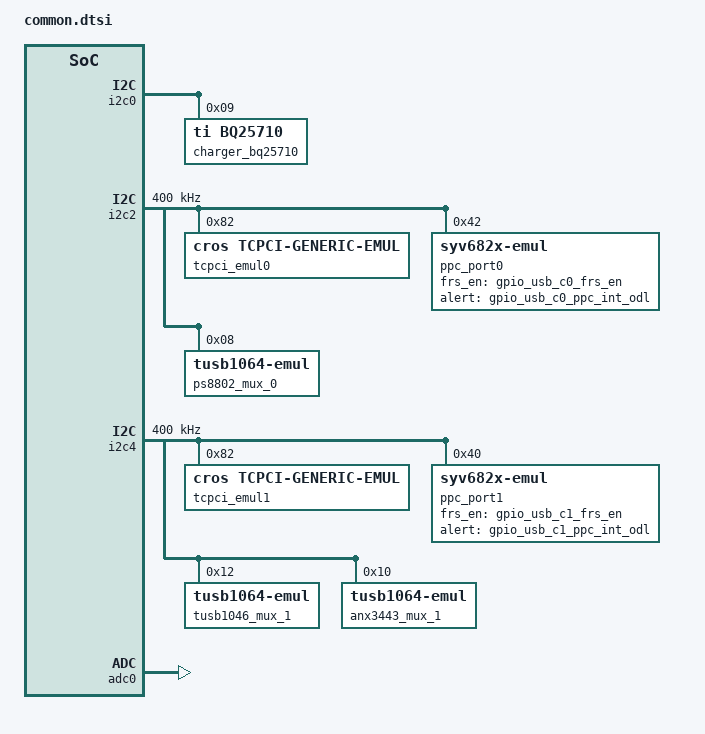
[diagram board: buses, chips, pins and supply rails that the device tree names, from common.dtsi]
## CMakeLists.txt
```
# Copyright 2025 The ChromiumOS Authors
# Use of this source code is governed by a BSD-style license that can be
# found in the LICENSE file.

# SPDX-License-Identifier: Apache-2.0

cmake_minimum_required(VERSION 3.20.0)

# Initialize Zephyr
find_package(Zephyr REQUIRED HINTS $ENV{ZEPHYR_BASE})
project(rauru_usbc_tests)

add_subdirectory(${PLATFORM_EC}/zephyr/test/test_utils test_utils)

zephyr_include_directories(
	"${PLATFORM_EC_PROGRAM_DIR}/rauru/include"
	include)

target_sources(app PRIVATE
	${PLATFORM_EC_PROGRAM_DIR}/rauru/src/usbc.c)

# Add the test source
target_sources(app PRIVATE
	src/main.c
    src/usbc_test.c
)
```

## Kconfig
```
# Copyright 2026 The ChromiumOS Authors
# Use of this source code is governed by a BSD-style license that can be
# found in the LICENSE file.

choice
    prompt "Select the test suite"

config TEST_RAURU_USBC
    bool "Run the tests intended for Rauru USBC"
    help
      Enable the Rauru USBC test suite.

endchoice

# Pull Zephyr test support
source "Kconfig.zephyr"
```

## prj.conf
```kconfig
# Copyright 2026 The ChromiumOS Authors
# Use of this source code is governed by a BSD-style license that can be
# found in the LICENSE file.

CONFIG_ZTEST=y
CONFIG_ZTEST_ASSERT_VERBOSE=1

CONFIG_ASSERT=y
CONFIG_ADC=y
CONFIG_CROS_EC=y
CONFIG_EMUL=y

CONFIG_SHIMMED_TASKS=n

CONFIG_PLATFORM_EC=y
CONFIG_PLATFORM_EC_BACKLIGHT_LID=n

CONFIG_PLATFORM_EC_USB_PD_VBUS_DETECT_PPC=y
CONFIG_PLATFORM_EC_CHARGE_MANAGER=y

CONFIG_PLATFORM_EC_GPIO_INIT_PRIORITY=49
CONFIG_PLATFORM_EC_HOOKS=y
CONFIG_PLATFORM_EC_HOSTCMD=y
CONFIG_PLATFORM_EC_LID_SWITCH=y
CONFIG_PLATFORM_EC_POWERSEQ_HOST_SLEEP=y
CONFIG_PLATFORM_EC_POWER_BUTTON=y
CONFIG_PLATFORM_EC_POWER_SLEEP_FAILURE_DETECTION=y
CONFIG_PLATFORM_EC_SWITCH=n
CONFIG_PLATFORM_EC_TABLET_MODE=y
CONFIG_PLATFORM_EC_USBC=y
CONFIG_PLATFORM_EC_USB_CHARGER=n
CONFIG_PLATFORM_EC_USB_DRP_ACC_TRYSRC=y
CONFIG_PLATFORM_EC_USB_PD_DISCHARGE=n
CONFIG_PLATFORM_EC_USB_PD_VBUS_MEASURE_ADC_EACH_PORT=y
CONFIG_PLATFORM_EC_USB_POWER_DELIVERY=y
CONFIG_PLATFORM_EC_VBOOT_HASH=n

CONFIG_AP_ARM_MTK_MT8196=y
CONFIG_PLATFORM_EC_CHIPSET_RESUME_INIT_HOOK=y
CONFIG_PLATFORM_EC_EXTPOWER_GPIO=y
CONFIG_PLATFORM_EC_POWERSEQ=y
CONFIG_PLATFORM_EC_POWERSEQ_PP5000_CONTROL=n

CONFIG_PLATFORM_EC_USBC_PPC=y

CONFIG_UART_NATIVE_PTY_0_ON_STDINOUT=y
```

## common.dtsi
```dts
/* Copyright 2025 The ChromiumOS Authors
 * Use of this source code is governed by a BSD-style license that can be
 * found in the LICENSE file.
 */

#include <it8xxx2_emul.dts>
#include "../program/rauru/power_signal.dtsi"

/ {

    pinctrl: pinctrl {
		compatible = "ite,it8xxx2-pinctrl";
		status = "disabled";
	};

	named-gpios {
		compatible = "named-gpios";

		/* unimplemented GPIOs */
		entering_rw: entering_rw {
			enum-name = "GPIO_ENTERING_RW";
		};

		/* a label to prevent build break in power sequencing */
		en_pp4200_s5: en_pp3700_s5 {
			gpios = <&gpioh 5 (GPIO_OUTPUT_LOW)>;
		};

		gpio_als_int_ec_odl: als_int_ec_odl {
			gpios = <&gpiob 6 (GPIO_INPUT)>;
		};
		gpio_ap_ec_sysrst_odl: ap_ec_sysrst_odl {
			gpios = <&gpioj 2 (GPIO_INPUT)>;
			enum-name = "GPIO_AP_EC_SYSRST_ODL";
		};
		gpio_ap_ec_warm_rst_req: ap_ec_warm_rst_req {
			gpios = <&gpiom 3 (GPIO_INPUT)>;
			enum-name = "GPIO_AP_EC_WARM_RST_REQ";
		};
		gpio_ap_ec_wdtrst_l: ap_ec_wdtrst_l {
			gpios = <&gpioj 3 (GPIO_INPUT)>;
			enum-name = "GPIO_AP_EC_WDTRST_L";
		};
		gpio_ap_in_sleep_l: ap_in_sleep_l {
			gpios = <&gpiom 2 (GPIO_INPUT)>;
			enum-name = "GPIO_AP_IN_SLEEP_L";
		};
		gpio_ap_xhci_init_done_r: ap_xhci_init_done_r {
			gpios = <&gpioj 4 (GPIO_INPUT)>;
		};
		gpio_ccd_mode_odl: ccd_mode_odl {
			gpios = <&gpioe 5 (GPIO_INPUT)>;
		};
		gpio_charger_prochot_odl: charger_prochot_odl {
			gpios = <&gpioc 0 (GPIO_INPUT)>;
		};
		gpio_dp_path_hdmi_en: dp_path_hdmi_en {
			gpios = <&gpioi 6 (GPIO_OUTPUT | GPIO_ACTIVE_HIGH | GPIO_OUTPUT_INIT_LOW)>;
		};
		gpio_dp_path_usb_c1_en: dp_path_usb_c1_en {
			gpios = <&gpiog 0 (GPIO_OUTPUT | GPIO_ACTIVE_HIGH | GPIO_OUTPUT_INIT_LOW)>;
		};
		gpio_ec_ap_dp_hpd_l: ec_ap_dp_hpd_l {
			gpios = <&gpiof 3 (GPIO_OUTPUT | GPIO_ACTIVE_HIGH | GPIO_OUTPUT_INIT_HIGH)>;
		};
		gpio_ec_ap_int_odl: ec_ap_int_odl {
			gpios = <&gpiom 6 (GPIO_OUTPUT | GPIO_OPEN_DRAIN | GPIO_ACTIVE_HIGH | GPIO_OUTPUT_INIT_HIGH)>;
			enum-name = "GPIO_EC_INT_L";
		};
		gpio_ec_ap_sys_rst_odl: ec_ap_sys_rst_odl {
			gpios = <&gpioj 5 (GPIO_OUTPUT | GPIO_OPEN_DRAIN | GPIO_ACTIVE_HIGH | GPIO_OUTPUT_INIT_HIGH)>;
			enum-name = "GPIO_SYS_RST_ODL";
		};
		gpio_ec_batt_pres_odl: ec_batt_pres_odl {
			gpios = <&gpioc 3 (GPIO_INPUT)>;
			enum-name = "GPIO_BATT_PRES_ODL";
		};
		gpio_ec_bl_en_od: ec_bl_en_od {
			gpios = <&gpiod 2 (GPIO_OUTPUT | GPIO_OPEN_DRAIN | GPIO_ACTIVE_HIGH | GPIO_OUTPUT_INIT_LOW)>;
		};
		gpio_ec_cbi_wp: ec_cbi_wp {
			gpios = <&gpioc 5 (GPIO_OUTPUT | GPIO_ACTIVE_HIGH | GPIO_OUTPUT_INIT_LOW)>;
		};
		gpio_ec_flash_wp_odl: ec_flash_wp_odl {
			gpios = <&gpioc 4 (GPIO_INPUT)>;
		};
		gpio_ec_gsc_packet_mode_en: ec_gsc_packet_mode_en {
			gpios = <&gpioe 6 (GPIO_OUTPUT | GPIO_ACTIVE_HIGH | GPIO_OUTPUT_INIT_LOW)>;
			enum-name = "GPIO_PACKET_MODE_EN";
		};
		gpio_ec_led1_odl: ec_led1_odl {
			gpios = <&gpioa 0 (GPIO_OUTPUT | GPIO_OPEN_DRAIN | GPIO_ACTIVE_HIGH | GPIO_OUTPUT_INIT_HIGH)>;
		};
		gpio_ec_led2_odl: ec_led2_odl {
			gpios = <&gpioa 1 (GPIO_OUTPUT | GPIO_OPEN_DRAIN | GPIO_ACTIVE_HIGH | GPIO_OUTPUT_INIT_HIGH)>;
		};
		gpio_ec_pmic_en_odl_r: ec_pmic_en_odl_r {
			gpios = <&gpioj 0 (GPIO_OUTPUT | GPIO_OPEN_DRAIN | GPIO_ACTIVE_HIGH | GPIO_OUTPUT_INIT_HIGH)>;
			enum-name = "GPIO_EC_PMIC_EN_ODL";
		};
		gpio_ec_voldn_btn_odl: ec_voldn_btn_odl {
			gpios = <&gpioe 3 (GPIO_INPUT)>;
			enum-name = "GPIO_VOLUME_DOWN_L";
		};
		gpio_ec_volup_btn_odl: ec_volup_btn_odl {
			gpios = <&gpioe 4 (GPIO_INPUT)>;
			enum-name = "GPIO_VOLUME_UP_L";
		};
		gpio_en_hdmi_pwr: en_hdmi_pwr {
			gpios = <&gpioi 5 (GPIO_OUTPUT | GPIO_ACTIVE_HIGH | GPIO_OUTPUT_INIT_LOW)>;
		};
		gpio_en_kb_bl: en_kb_bl {
			gpios = <&gpiog 2 (GPIO_OUTPUT | GPIO_ACTIVE_HIGH)>;
			enum-name = "GPIO_EN_KEYBOARD_BACKLIGHT";
		};
		gpio_en_pp5000_fan: en_pp5000_fan {
			gpios = <&gpioa 6 (GPIO_OUTPUT | GPIO_ACTIVE_HIGH | GPIO_OUTPUT_INIT_LOW)>;
		};
		gpio_en_pp5000_pen_l: en_pp5000_pen_l {
			gpios = <&gpiog 3 (GPIO_OUTPUT | GPIO_ACTIVE_HIGH | GPIO_OUTPUT_INIT_HIGH)>;
		};
		gpio_en_pp5000_usba_vbus: en_pp5000_usba_vbus {
			gpios = <&gpiog 1 (GPIO_OUTPUT | GPIO_ACTIVE_HIGH | GPIO_OUTPUT_INIT_LOW)>;
		};
		gpio_en_pp5000_z1: en_pp5000_z1 {
			gpios = <&gpioh 3 (GPIO_OUTPUT | GPIO_ACTIVE_HIGH | GPIO_OUTPUT_INIT_HIGH)>;
		};
		gpio_en_ulp: en_ulp {
			gpios = <&gpioh 0 (GPIO_OUTPUT | GPIO_ACTIVE_HIGH | GPIO_OUTPUT_INIT_LOW)>;
		};
		gpio_gsc_acok_od: gsc_acok_od {
			gpios = <&gpioe 1 (GPIO_INPUT)>;
			enum-name = "GPIO_AC_PRESENT";
		};
		gpio_gsc_ec_pwr_btn_odl: gsc_ec_pwr_btn_odl {
			gpios = <&gpioe 2 (GPIO_INPUT)>;
			enum-name = "GPIO_POWER_BUTTON_L";
		};
		gpio_hdmi_ec_hpd: hdmi_ec_hpd {
			gpios = <&gpioi 7 (GPIO_INPUT)>;
		};
		gpio_imu_int_ec_l: imu_int_ec_l {
			gpios = <&gpiod 0 (GPIO_INPUT)>;
		};
		gpio_lid_360_l: lid_360_l {
			gpios = <&gpioc 7 (GPIO_INPUT)>;
		};
		gpio_lid_accel_int_ec_l: lid_accel_int_ec_l {
			gpios = <&gpiod 1 (GPIO_INPUT)>;
		};
		gpio_lid_open_3v3: lid_open_3v3 {
			gpios = <&gpioc 6 (GPIO_INPUT)>;
			enum-name = "GPIO_LID_OPEN";
		};
		gpio_pg_pp3700_s5_od: pg_pp3700_s5_od {
			gpios = <&gpioh 6 (GPIO_INPUT)>;
			enum-name = "GPIO_PG_PP4200_S5_OD";
		};
		gpio_pg_pp5000_z1_od: pg_pp5000_z1_od {
			gpios = <&gpioh 4 (GPIO_INPUT)>;
		};
		gpio_pmic_ec_resetb: pmic_ec_resetb {
			gpios = <&gpioj 1 (GPIO_INPUT)>;
			enum-name = "GPIO_PMIC_EC_RESETB";
		};
		gpio_usb_c0_dp_in_hpd: usb_c0_dp_in_hpd {
			gpios = <&gpiof 2 (GPIO_OUTPUT | GPIO_ACTIVE_HIGH | GPIO_OUTPUT_INIT_LOW)>;
		};
		gpio_usb_c0_frs_en: usb_c0_frs_en {
			gpios = <&gpiof 0 (GPIO_OUTPUT | GPIO_ACTIVE_HIGH | GPIO_OUTPUT_INIT_LOW)>;
		};
		gpio_usb_c0_ppc_int_odl: usb_c0_ppc_int_odl {
			gpios = <&gpiof 1 (GPIO_INPUT | GPIO_ACTIVE_LOW)>;
		};
		gpio_usb_c1_frs_en: usb_c1_frs_en {
			gpios = <&gpiod 3 (GPIO_OUTPUT | GPIO_ACTIVE_HIGH | GPIO_OUTPUT_INIT_LOW)>;
		};
		gpio_usb_c1_ppc_int_odl: usb_c1_ppc_int_odl {
			gpios = <&gpiod 4 (GPIO_INPUT | GPIO_ACTIVE_LOW)>;
		};
	};

	gpio-interrupts {
		compatible = "cros-ec,gpio-interrupts";

		int_ac_present: ac-present {
			irq-pin = <&gpio_gsc_acok_od>;
			flags = <GPIO_INT_EDGE_BOTH>;
			handler = "extpower_interrupt";
		};
	};

    named-i2c-ports {
		compatible = "named-i2c-ports";

		i2c_ec_i2c_pwr_cbi_scl_3v3: ec_i2c_pwr_cbi_scl_3v3 {
			i2c-port = <&i2c0>;
			enum-names = "I2C_PORT_POWER", "I2C_PORT_EEPROM";
		};
		i2c_ec_smb_batt_scl_3v3: ec_smb_batt_scl_3v3 {
			i2c-port = <&i2c1>;
			enum-names = "I2C_PORT_BATTERY", "I2C_PORT_VIRTUAL_BATTERY";
		};
		i2c_ec_i2c_usb_c0_scl_3v3: ec_i2c_usb_c0_scl_3v3 {
			i2c-port = <&i2c2>;
			enum-names = "I2C_PORT_USB_C0";
		};
		i2c_ec_i2c_sensor_scl_1v8: ec_i2c_sensor_scl_1v8 {
			i2c-port = <&i2c3>;
			enum-names = "I2C_PORT_SENSOR";
		};
		i2c_ec_i2c_usb_c1_scl_3v3: ec_i2c_usb_c1_scl_3v3 {
			i2c-port = <&i2c4>;
			enum-names = "I2C_PORT_USB_C1";
		};
	};

	usbc {
		#address-cells = <1>;
		#size-cells = <0>;

		port0@0 {
			compatible = "named-usbc-port";
			reg = <0>;
			chg = <&charger_bq25710>;
			tcpc = <&tcpci_emul0>;
			ppc = <&ppc_port0>;
			usb-mux-chain-0 {
				compatible = "cros-ec,usb-mux-chain";
				usb-muxes = <&ps8802_mux_0 &virtual_mux_0>;
			};
		};

		port0-muxes {
			virtual_mux_0: virtual-mux-0 {
				compatible = "cros-ec,usbc-mux-virtual";
			};
		};

		port1@1 {
			compatible = "named-usbc-port";
			reg = <1>;
			tcpc = <&tcpci_emul1>;
			ppc = <&ppc_port1>;
			usb-mux-chain-1 {
				compatible = "cros-ec,usb-mux-chain";
				usb-muxes = <&anx3443_mux_1 &virtual_mux_1>;
			};
			usb_mux_chain_tusb1046_port1: usb-mux-chain-1-tusb {
				compatible = "cros-ec,usb-mux-chain";
				usb-muxes = <&tusb1046_mux_1 &virtual_mux_1>;
				alternative-chain;
			};
		};

		port1-muxes {
			virtual_mux_1: virtual-mux-1 {
				compatible = "cros-ec,usbc-mux-virtual";
			};
		};
	};

    named-adc-channels {
		compatible = "named-adc-channels";

		adc_ec_usb_c0_vbus_sense: ec_usb_c0_vbus_sense {
			enum-name = "ADC_VBUS_C0";
			io-channels = <&adc0 0>;
		};
		adc_ec_usb_c1_vbus_sense: ec_usb_c1_vbus_sense {
			enum-name = "ADC_VBUS_C1";
			io-channels = <&adc0 1>;
		};
		adc_charger_amon_q: charger_amon_q {
			enum-name = "ADC_AMON_BMON";
			io-channels = <&adc0 2>;
		};
		adc_charger_pmon_q: charger_pmon_q {
			enum-name = "ADC_PSYS";
			io-channels = <&adc0 3>;
		};
		adc_temp_sensor1: temp_sensor1 {
			enum-name = "ADC_TEMP_SENSOR_1";
			io-channels = <&adc0 4>;
		};
	};
};

&i2c0 {
	charger_bq25710: bq25710@9 {
		compatible = "ti,bq25710","zephyr,rt9490-emul";
		status = "okay";
		reg = <0x9>;
	};
};

&i2c2 {

	status = "okay";
	clock-frequency = <I2C_BITRATE_FAST>;

    tcpci_emul0: tcpci_emul@82 {
        compatible = "cros,tcpci-generic-emul";
        status = "okay";
        reg = <0x82>;
	};

	ppc_port0: syv682x@42 {
		compatible = "zephyr,syv682x-emul";
		status = "okay";
		reg = <0x42>;
		frs_en_gpio = <&gpio_usb_c0_frs_en>;
		alert_gpio = <&gpio_usb_c0_ppc_int_odl>;
	};

	ps8802_mux_0: ps8802-mx-0@8 {
		compatible = "zephyr,tusb1064-emul";
		status = "okay";
		reg = <0x8>;
	};
};

&i2c4 {

	status = "okay";
	clock-frequency = <I2C_BITRATE_FAST>;

	tcpci_emul1: tcpci_emul@82 {
        compatible = "cros,tcpci-generic-emul";
        status = "okay";
        reg = <0x82>;
	};

	ppc_port1: syv682x@40 {
		compatible = "zephyr,syv682x-emul";
		status = "okay";
		reg = <0x40>;
		frs_en_gpio = <&gpio_usb_c1_frs_en>;
		alert_gpio = <&gpio_usb_c1_ppc_int_odl>;
	};

	tusb1046_mux_1: tusb1046-mux-1@12 {
		compatible = "zephyr,tusb1064-emul";
		status = "okay";
		reg = <0x12>;
	};

	anx3443_mux_1: anx3443-mux-1@10 {
		compatible = "zephyr,tusb1064-emul";
		status = "okay";
		reg = <0x10>;
	};
};

&adc0 {
	status = "okay";
};
```

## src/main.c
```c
/* Copyright 2026 The ChromiumOS Authors
 * Use of this source code is governed by a BSD-style license that can be
 * found in the LICENSE file.
 */

#include "ec_app_main.h"
#include "test_state.h"

#include <zephyr/kernel.h>
#include <zephyr/ztest.h>

bool rauru_predicate_post_main(const void *state)
{
	return ((struct test_state *)state)->ec_app_main_run;
}

void test_main(void)
{
	struct test_state state = {
		.ec_app_main_run = false,
	};

	/* Run all the suites that depend on main not being called yet */
	ztest_run_test_suites(&state, false, 1, 1);

	ec_app_main();

	state.ec_app_main_run = true;

	/* Run all the suites that depend on main being called */
	ztest_run_test_suites(&state, false, 1, 1);

	/* Check that every suite ran */
	ztest_verify_all_test_suites_ran();
}
```

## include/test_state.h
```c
/* Copyright 2026 The ChromiumOS Authors
 * Use of this source code is governed by a BSD-style license that can be
 * found in the LICENSE file.
 */

#ifndef ZEPHYR_TEST_RAURU_INCLUDE_TEST_STATE_H_
#define ZEPHYR_TEST_RAURU_INCLUDE_TEST_STATE_H_

#include <stdbool.h>

struct test_state {
	bool ec_app_main_run;
};

bool rauru_predicate_post_main(const void *state);

#endif /* ZEPHYR_TEST_AP_POWER_INCLUDE_TEST_STATE_H_ */
```

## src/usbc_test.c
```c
/* Copyright 2026 The ChromiumOS Authors
 * Use of this source code is governed by a BSD-style license that can be
 * found in the LICENSE file.
 */

#include "adc.h"
#include "battery.h"
#include "charge_manager.h"
#include "chipset.h"
#include "console.h"
#include "driver/ppc/syv682x.h"
#include "driver/ppc/syv682x_public.h"
#include "emul/emul_common_i2c.h"
#include "emul/emul_syv682x.h"
#include "hooks.h"
#include "i2c/i2c.h"
#include "power.h"
#include "test_state.h"
#include "usb_pd.h"
#include "usbc_ppc.h"

#include <zephyr/devicetree.h>
#include <zephyr/devicetree/io-channels.h>
#include <zephyr/drivers/adc/adc_emul.h>
#include <zephyr/drivers/emul.h>
#include <zephyr/fff.h>
#include <zephyr/kernel.h>
#include <zephyr/ztest.h>

FAKE_VALUE_FUNC(int, battery_wait_for_stable);
FAKE_VALUE_FUNC(int, adc_read_channel, enum adc_channel);
FAKE_VALUE_FUNC(int, ppc_is_sourcing_vbus, int);
FAKE_VOID_FUNC(pd_set_vbus_discharge, int, int);
FAKE_VOID_FUNC(pd_send_host_event, int);
FAKE_VALUE_FUNC(int, ppc_vbus_sink_enable, int, int);
FAKE_VALUE_FUNC(int, ppc_vbus_source_enable, int, int);

ZTEST(usbc_test, test_board_reset_pd_mcu)
{
	/*
	 * No assertion required as board_reset_pd_mcu is a no-op for now
	 * It’s supposed to reset the PD MCU, but this functionality
	 * is handled in chip code (it83xx/intc.c).
	 */
	board_reset_pd_mcu();
}

ZTEST(usbc_test, test_board_pd_vconn_ctrl)
{
	/*
	 * No assertion required as board_pd_vconn_ctrl is a no-op for now
	 * VCONN control is handled by the PPC driver via PD state machine.
	 */
	board_pd_vconn_ctrl(0, USBPD_CC_PIN_1, 1);
	board_pd_vconn_ctrl(1, USBPD_CC_PIN_2, 0);
}

ZTEST(usbc_test, test_pd_set_power_supply_ready_success)
{
	ppc_vbus_sink_enable_fake.return_val = EC_SUCCESS;
	ppc_vbus_source_enable_fake.return_val = EC_SUCCESS;

	zassert_ok(pd_set_power_supply_ready(0));

	zassert_equal(ppc_vbus_sink_enable_fake.call_count, 1);
	zassert_equal(ppc_vbus_sink_enable_fake.arg0_val, 0);
	zassert_equal(ppc_vbus_sink_enable_fake.arg1_val, 0);

	zassert_equal(pd_set_vbus_discharge_fake.call_count, 1);
	zassert_equal(pd_set_vbus_discharge_fake.arg0_val, 0);
	zassert_equal(pd_set_vbus_discharge_fake.arg1_val, 0);

	zassert_equal(ppc_vbus_source_enable_fake.call_count, 1);
	zassert_equal(ppc_vbus_source_enable_fake.arg0_val, 0);
	zassert_equal(ppc_vbus_source_enable_fake.arg1_val, 1);

	k_msleep(1);
	zassert_equal(pd_send_host_event_fake.call_count, 1);
}

ZTEST(usbc_test, test_pd_set_power_supply_ready_sink_fail)
{
	ppc_vbus_sink_enable_fake.return_val = EC_ERROR_INVAL;

	int rv = pd_set_power_supply_ready(0);

	zassert_equal(rv, EC_ERROR_INVAL);

	/* Sink attempted */
	zassert_equal(ppc_vbus_sink_enable_fake.call_count, 1);

	/* Must NOT proceed further */
	zassert_equal(pd_set_vbus_discharge_fake.call_count, 0);
	zassert_equal(ppc_vbus_source_enable_fake.call_count, 0);
}

ZTEST(usbc_test, test_pd_set_power_supply_ready_source_fail)
{
	ppc_vbus_sink_enable_fake.return_val = EC_SUCCESS;
	ppc_vbus_source_enable_fake.return_val = EC_ERROR_BUSY;

	int rv = pd_set_power_supply_ready(0);

	zassert_equal(rv, EC_ERROR_BUSY);

	/* Sink disable still happens */
	zassert_equal(ppc_vbus_sink_enable_fake.call_count, 1);

	/* Discharge happens before source enable */
	zassert_equal(pd_set_vbus_discharge_fake.call_count, 1);

	/* Source enable attempted */
	zassert_equal(ppc_vbus_source_enable_fake.call_count, 1);
}

ZTEST(usbc_test, test_pd_power_supply_reset_integration)
{
	pd_set_power_supply_ready(0);
	k_msleep(1);

	pd_power_supply_reset(0);
	k_msleep(1);

	/* After reset, VBUS off */
	zassert_false(board_vbus_source_enabled(0));
}

ZTEST(usbc_test, test_pd_power_supply_reset_not_sourcing)
{
	ppc_is_sourcing_vbus_fake.return_val = 0;

	pd_power_supply_reset(0);

	zassert_equal(pd_set_vbus_discharge_fake.call_count, 0);
}

ZTEST(usbc_test, test_pd_check_vconn_swap)
{
	const int port = 0;
	/* suspend */
	power_set_state(POWER_S3);
	zassert_true(pd_check_vconn_swap(port));

	/* s0 */
	power_set_state(POWER_S0);
	zassert_true(pd_check_vconn_swap(port));

	/* softoff */
	power_set_state(POWER_S5);
	zassert_false(pd_check_vconn_swap(port));

	/* hardoff */
	power_set_state(POWER_G3);
	zassert_false(pd_check_vconn_swap(port));
}

ZTEST(usbc_test, test_set_active_charge_port_none)
{
	/* Don't return error even disable failed */
	ppc_vbus_sink_enable_fake.return_val = 1;
	zassert_equal(EC_SUCCESS,
		      board_set_active_charge_port(CHARGE_PORT_NONE));
	zassert_equal(2, ppc_vbus_sink_enable_fake.call_count);
	/* C0 */
	zassert_equal(0, ppc_vbus_sink_enable_fake.arg0_history[0]);
	zassert_equal(0, ppc_vbus_sink_enable_fake.arg1_history[0]);
	/* C1 */
	zassert_equal(1, ppc_vbus_sink_enable_fake.arg0_history[1]);
	zassert_equal(0, ppc_vbus_sink_enable_fake.arg1_history[1]);
}

ZTEST(usbc_test, test_set_active_charge_port_invalid_port)
{
	zassert_equal(board_set_active_charge_port(3), EC_ERROR_INVAL,
		      "port 3 doesn't exist, should return error");
}

ZTEST(usbc_test, test_set_active_charge_port)
{
	/* We can successfully start sinking on a port */
	zassert_ok(board_set_active_charge_port(0));

	/* Requested charging stop initially */
	/* Sinking on the other port was disabled */
	zassert_equal(1, ppc_vbus_sink_enable_fake.arg0_history[0]);
	zassert_equal(0, ppc_vbus_sink_enable_fake.arg1_history[0]);
	/* Sinking was enabled on the new port */
	zassert_equal(0, ppc_vbus_sink_enable_fake.arg0_history[1]);
	zassert_equal(1, ppc_vbus_sink_enable_fake.arg1_history[1]);
}

ZTEST(usbc_test, test_set_active_charge_port_enable_fail)
{
	ppc_vbus_sink_enable_fake.return_val = 1;
	zassert_equal(board_set_active_charge_port(0), EC_ERROR_UNKNOWN);
}

ZTEST(usbc_test, test_vbus_adc_channel)
{
	zassert_equal(board_get_vbus_adc(0), ADC_VBUS_C0);
	zassert_equal(board_get_vbus_adc(1), ADC_VBUS_C1);
	zassert_equal(board_get_vbus_adc(99), ADC_VBUS_C0);
}

static void set_vbus_adc(int voltage)
{
	/* Set input voltage */
	adc_read_channel_fake.return_val = voltage;
}

ZTEST(usbc_test, test_pd_check_vbus_level)
{
	/* SAFE0V true */
	set_vbus_adc(PD_V_SAFE0V_MAX - 10);
	zassert_true(pd_check_vbus_level(0, VBUS_SAFE0V));

	/* SAFE0V false */
	set_vbus_adc(PD_V_SAFE0V_MAX + 100);
	zassert_false(pd_check_vbus_level(0, VBUS_SAFE0V));

	/* PRESENT true */
	set_vbus_adc(PD_V_SAFE5V_MIN + 200);
	zassert_true(pd_check_vbus_level(0, VBUS_PRESENT));

	/* PRESENT false */
	set_vbus_adc(PD_V_SAFE5V_MIN - 200);
	zassert_false(pd_check_vbus_level(0, VBUS_PRESENT));

	/* REMOVED true */
	set_vbus_adc(PD_V_SINK_DISCONNECT_MAX - 50);
	zassert_true(pd_check_vbus_level(0, VBUS_REMOVED));

	/* REMOVED false */
	set_vbus_adc(PD_V_SINK_DISCONNECT_MAX + 200);
	zassert_false(pd_check_vbus_level(0, VBUS_REMOVED));

	/* Unknown level */
	zassert_false(pd_check_vbus_level(0, 99));
}

ZTEST(usbc_test, test_pd_snk_is_vbus_provided)
{
	set_vbus_adc(PD_V_SAFE5V_MIN + 100);
	zassert_true(pd_snk_is_vbus_provided(0));

	set_vbus_adc(PD_V_SAFE5V_MIN - 500);
	zassert_false(pd_snk_is_vbus_provided(0));
}

static void before(void *data)
{
	RESET_FAKE(adc_read_channel);
	RESET_FAKE(ppc_is_sourcing_vbus);
	RESET_FAKE(pd_set_vbus_discharge);
	RESET_FAKE(pd_send_host_event);
	RESET_FAKE(ppc_vbus_sink_enable);
	RESET_FAKE(ppc_vbus_source_enable);
}

ZTEST_SUITE(usbc_test, rauru_predicate_post_main, NULL, before, NULL, NULL);
```
